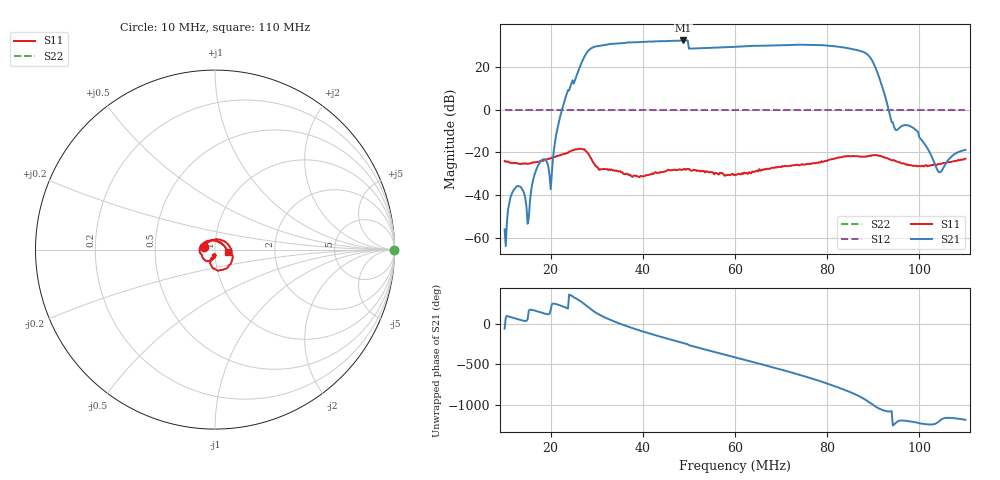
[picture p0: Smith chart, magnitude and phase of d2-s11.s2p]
! Anritsu VNA Master:  Model: MS2034B/10/19/501
! SN:  1337062
! /bd0/ovro-jan-2016/d2-s11.s2p
! Existing Calibration Information:
! TYPE:  Current Settings,  Active Cal Settings
! TIME:  01/08/2016 02:15:55 PM,  01/08/2016 02:08:01 PM
! INTERNAL TEMP:  46.3 C,  46.8 C
! # POINTS:  401,  401
! START FREQ:  10.000 MHz,  10.000 MHz
! STOP FREQ:  110.000 MHz,  110.000 MHz
! SOURCE POWER:  Low,  Low
! IFBW:  100 Hz,  100 Hz
! AVG FACTOR:  1 ,  1
! REF PLANE 1:  0 mm,  0 mm
! REF PLANE 2:  0 mm,  0 mm
! CAL TYPE:  Full S11,  Full S11
! CAL METHOD:  SOLT,  SOLT
! CAL LINE TYPE:  Coax,  Coax
! DUT PORT 1:  K-Conn(M),  K-Conn(M)
! DUT PORT 2:  N-Conn(M),  N-Conn(M)
! CAL STATUS:  OK: Accuracy High,  --
# GHZ S DB R 50.0
! FREQ.GHZ  S11DB  S11A  S21DB  S21A  S12DB  S12A  S22DB  S22A
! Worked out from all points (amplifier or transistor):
!   401 points, 10 MHz to 110 MHz, reference 50 ohm
!   highest |S21| = 32.2 dB at 48.75 MHz (marker M1)
!   |S21| within 3 dB of that: 59.7 MHz to 82.71 MHz (23.01 MHz wide, 32.3 % of centre)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
!   unconditionally stable (mu >= 1): nowhere
!   at 26.5 MHz: K = 5.30, MSG = 10.4 dB, |S12| = 0.0 dB
!   at 60 MHz: K = 14.35, MSG = 14.6 dB, |S12| = 0.0 dB
!   at 110 MHz: K = 0.07, MSG = -9.4 dB, |S12| = 0.0 dB
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0.01  -23.98 165.6  -55.85 -56.0  0.00 0.0  0.00 0.0
0.02675  -18.37 -69.5  21.99 -86.4  0.00 0.0  0.00 0.0
0.028  -20.13 -99.2  26.96 -142.3  0.00 0.0  0.00 0.0
0.02925  -24.77 -114.0  29.02 163.5  0.00 0.0  0.00 0.0
0.03175  -27.76 -99.6  30.05 83.8  0.00 0.0  0.00 0.0
0.036  -30.07 -107.4  30.99 -14.4  0.00 0.0  0.00 0.0
0.03975  -31.12 -89.2  31.45 -86.1  0.00 0.0  0.00 0.0
0.0435  -29.49 -87.7  31.81 -150.2  0.00 0.0  0.00 0.0
0.04875  -27.92 -100.6  32.16 125.7  0.00 0.0  0.00 0.0
0.05475  -29.13 -109.0  28.74 27.0  0.00 0.0  0.00 0.0
0.06  -30.58 -100.8  29.17 -51.6  0.00 0.0  0.00 0.0
0.064  -29.01 -95.0  29.65 -111.3  0.00 0.0  0.00 0.0
0.06875  -26.87 -96.0  29.85 176.2  0.00 0.0  0.00 0.0
0.07325  -25.81 -101.1  30.12 104.3  0.00 0.0  0.00 0.0
0.07675  -25.05 -104.6  30.08 44.1  0.00 0.0  0.00 0.0
0.07975  -23.96 -109.7  29.83 -11.6  0.00 0.0  0.00 0.0
0.083  -22.19 -125.2  29.05 -78.4  0.00 0.0  0.00 0.0
0.08625  -21.71 -145.8  27.79 -154.4  0.00 0.0  0.00 0.0
0.08875  -21.84 -161.2  25.61 125.8  0.00 0.0  0.00 0.0
0.0905  -21.21 -178.9  19.44 57.4  0.00 0.0  0.00 0.0
0.0935  -23.22 144.7  -1.50 -4.1  0.00 0.0  0.00 0.0
0.11  -22.89 -9.4  -18.82 -106.2  0.00 0.0  0.00 0.0
